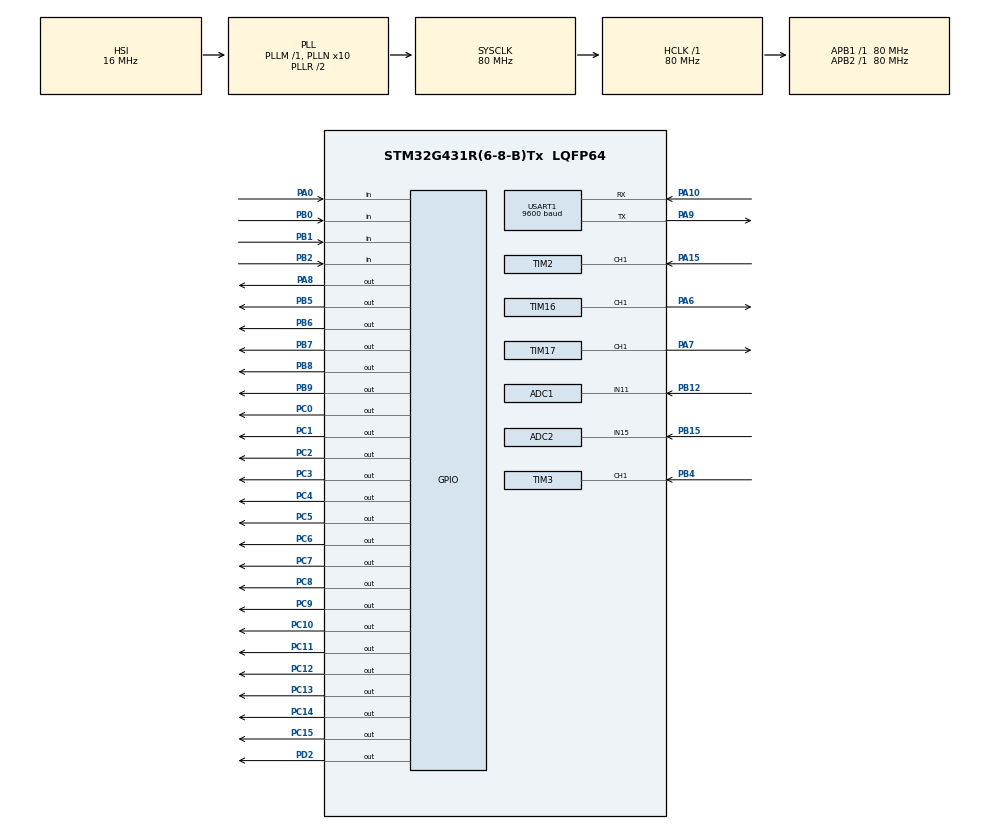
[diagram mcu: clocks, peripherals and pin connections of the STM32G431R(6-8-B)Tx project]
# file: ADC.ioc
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ADC1.Channel-0\#ChannelRegularConversion=ADC_CHANNEL_11
ADC1.NbrOfConversionFlag=1
ADC1.OffsetNumber-0\#ChannelRegularConversion=ADC_OFFSET_NONE
ADC1.Rank-0\#ChannelRegularConversion=1
ADC1.SamplingTime-0\#ChannelRegularConversion=ADC_SAMPLETIME_2CYCLES_5
ADC1.master=1
ADC2.Channel-0\#ChannelRegularConversion=ADC_CHANNEL_15
ADC2.NbrOfConversionFlag=1
ADC2.OffsetNumber-0\#ChannelRegularConversion=ADC_OFFSET_NONE
ADC2.Rank-0\#ChannelRegularConversion=1
ADC2.SamplingTime-0\#ChannelRegularConversion=ADC_SAMPLETIME_2CYCLES_5
Mcu.Family=STM32G4
Mcu.Name=STM32G431R(6-8-B)Tx
Mcu.Package=LQFP64
NVIC.PriorityGroup=NVIC_PRIORITYGROUP_4
NVIC.TIM2_IRQn=true\:0\:0\:false\:false\:true\:true\:true\:true
NVIC.TIM3_IRQn=true\:0\:0\:false\:false\:true\:true\:true\:true
NVIC.TIM4_IRQn=true\:0\:0\:false\:false\:true\:true\:true\:true
NVIC.USART1_IRQn=true\:0\:0\:false\:false\:true\:true\:true\:true
PA0.GPIO_PuPd=GPIO_PULLDOWN
PA0.Signal=GPIO_Input
PA10.Mode=Asynchronous
PA10.Signal=USART1_RX
PA13.Mode=Serial_Wire
PA13.Signal=SYS_JTMS-SWDIO
PA14.Mode=Serial_Wire
PA14.Signal=SYS_JTCK-SWCLK
PA15.Signal=S_TIM2_CH1
PA6.Signal=S_TIM16_CH1
PA7.Signal=S_TIM17_CH1
PA8.Signal=GPIO_Output
PA9.Mode=Asynchronous
PA9.Signal=USART1_TX
PB0.GPIO_PuPd=GPIO_PULLDOWN
PB0.Signal=GPIO_Input
PB1.GPIO_PuPd=GPIO_PULLDOWN
PB1.Signal=GPIO_Input
PB12.Mode=IN11-Single-Ended
PB12.Signal=ADC1_IN11
PB15.Mode=IN15-Single-Ended
PB15.Signal=ADC2_IN15
PB2.GPIO_PuPd=GPIO_PULLDOWN
PB2.Signal=GPIO_Input
PB4.Signal=S_TIM3_CH1
PB5.Signal=GPIO_Output
PB6.Signal=GPIO_Output
PB7.Signal=GPIO_Output
PB8-BOOT0.Signal=GPIO_Output
PB9.Signal=GPIO_Output
PC0.Signal=GPIO_Output
PC1.Signal=GPIO_Output
PC10.PinState=GPIO_PIN_SET
PC10.Signal=GPIO_Output
PC11.PinState=GPIO_PIN_SET
PC11.Signal=GPIO_Output
PC12.PinState=GPIO_PIN_SET
PC12.Signal=GPIO_Output
PC13.PinState=GPIO_PIN_SET
PC13.Signal=GPIO_Output
PC14-OSC32_IN.PinState=GPIO_PIN_SET
PC14-OSC32_IN.Signal=GPIO_Output
PC15-OSC32_OUT.PinState=GPIO_PIN_SET
PC15-OSC32_OUT.Signal=GPIO_Output
PC2.Signal=GPIO_Output
PC3.Signal=GPIO_Output
PC4.Signal=GPIO_Output
PC5.Signal=GPIO_Output
PC6.Signal=GPIO_Output
PC7.Signal=GPIO_Output
PC8.PinState=GPIO_PIN_SET
PC8.Signal=GPIO_Output
PC9.PinState=GPIO_PIN_SET
PC9.Signal=GPIO_Output
PD2.Signal=GPIO_Output
PF0-OSC_IN.Mode=HSE-External-Oscillator
PF0-OSC_IN.Signal=RCC_OSC_IN
PF1-OSC_OUT.Mode=HSE-External-Oscillator
PF1-OSC_OUT.Signal=RCC_OSC_OUT
ProjectManager.HeapSize=0x200
ProjectManager.StackSize=0x400
ProjectManager.TargetToolchain=MDK-ARM V5.32
RCC.ADC12Freq_Value=80000000
RCC.AHBFreq_Value=80000000
RCC.APB1Freq_Value=80000000
RCC.APB1TimFreq_Value=80000000
RCC.APB2Freq_Value=80000000
RCC.APB2TimFreq_Value=80000000
RCC.CortexFreq_Value=80000000
RCC.EXTERNAL_CLOCK_VALUE=12288000
RCC.HCLKFreq_Value=80000000
RCC.HSE_VALUE=24000000
RCC.HSI48_VALUE=48000000
RCC.HSI_VALUE=16000000
RCC.LSE_VALUE=32768
RCC.PLLN=10
RCC.SYSCLKFreq_VALUE=80000000
RCC.SYSCLKSource=RCC_SYSCLKSOURCE_PLLCLK
RCC.USBFreq_Value=80000000
RCC.VCOOutputFreq_Value=160000000
SH.S_TIM16_CH1.0=TIM16_CH1,PWM Generation1 CH1
SH.S_TIM17_CH1.0=TIM17_CH1,PWM Generation1 CH1
SH.S_TIM2_CH1.0=TIM2_CH1,Input_Capture1_from_TI1
SH.S_TIM3_CH1.0=TIM3_CH1,Input_Capture1_from_TI1
TIM16.Channel=TIM_CHANNEL_1
TIM16.PeriodNoDither=100-1
TIM16.Prescaler=8000-1
TIM16.PulseNoDither_1=20
TIM17.Channel=TIM_CHANNEL_1
TIM17.PeriodNoDither=100-1
TIM17.Prescaler=4000-1
TIM17.PulseNoDither_1=20
TIM2.Channel-Input_Capture1_from_TI1=TIM_CHANNEL_1
TIM2.Channel-Input_Capture2_from_TI1_63=TIM_CHANNEL_2
TIM2.ICPolarity_CH2=TIM_INPUTCHANNELPOLARITY_FALLING
TIM2.Prescaler=80-1
TIM3.Channel-Input_Capture1_from_TI1=TIM_CHANNEL_1
TIM3.Channel-Input_Capture2_from_TI1_63=TIM_CHANNEL_2
TIM3.ICPolarity_CH1=TIM_INPUTCHANNELPOLARITY_RISING
TIM3.ICPolarity_CH2=TIM_INPUTCHANNELPOLARITY_FALLING
TIM3.Prescaler=80-1
TIM4.PeriodNoDither=10000-1
TIM4.Prescaler=80-1
USART1.BaudRate=9600
USART1.VirtualMode-Asynchronous=VM_ASYNC
VP_SYS_VS_DBSignals.Mode=DisableDeadBatterySignals
VP_TIM16_VS_ClockSourceINT.Mode=Enable_Timer
VP_TIM17_VS_ClockSourceINT.Mode=Enable_Timer
VP_TIM2_VS_indirect_ch1.Mode=Input_Capture2_from_TI1_63
VP_TIM3_VS_indirect_ch1.Mode=Input_Capture2_from_TI1_63
VP_TIM4_VS_ClockSourceINT.Mode=Internal
board=custom

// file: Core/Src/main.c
/* USER CODE BEGIN Header */
/**
  ******************************************************************************
  * @file           : main.c
  * @brief          : Main program body
  ******************************************************************************
  * @attention
  *
  * Copyright (c) 2023 STMicroelectronics.
  * All rights reserved.
  *
  * This software is licensed under terms that can be found in the LICENSE file
  * in the root directory of this software component.
  * If no LICENSE file comes with this software, it is provided AS-IS.
  *
  ******************************************************************************
  */
/* USER CODE END Header */
#include "main.h"
#include "adc.h"
#include "tim.h"
#include "usart.h"
#include "gpio.h"

/* USER CODE BEGIN Includes */
#include "led.h"
#include "lcd.h"
#include "stdio.h"
#include "interrupt.h"
#include "badc.h"
#include "i2c_hal.h"
#include "string.h"
/* USER CODE END Includes */

/* USER CODE BEGIN PTD */
extern struct keys key[];//在main函数引用interrupt.c文件里的struct keys key变量
extern uint frq1,frq2;
extern float duty1,duty2;

uchar view=0;//默认在第一个界面

uchar pa6_duty=10;//PA6的占空比
uchar pa7_duty=10;

extern char rxdata[30];//最终处理好的数据
extern uint8_t rxdat;//每次接收的数据
extern uchar rx_pointer;//确定一下写到哪个位置了
char car_type[5];
char car_data[5];
char car_time[13];

void key_proc(void);
void disp_proc(void);
void uart_rx_porc();

/* USER CODE END PTD */

void SystemClock_Config(void);

int main(void)
{

  /* MCU Configuration--------------------------------------------------------*/

  /* Reset of all peripherals, Initializes the Flash interface and the Systick. */
  HAL_Init();

  /* Configure the system clock */
  SystemClock_Config();

  /* Initialize all configured peripherals */
  MX_GPIO_Init();
  MX_TIM2_Init();
  MX_TIM3_Init();
  MX_TIM4_Init();
  MX_TIM16_Init();
  MX_TIM17_Init();
  MX_ADC1_Init();
  MX_ADC2_Init();
  MX_USART1_UART_Init();
  /* USER CODE BEGIN 2 */
    LED_Disp(0x00);//LED的初始化，即让所有led灭
    LCD_Init();//LCD屏的初始化

    //初始化串口
    HAL_UART_Receive_IT(&huart1,&rxdat,1);//每次中断只能接收一个字符

	LCD_Clear(Black);//把屏幕清空，清成黑色
	LCD_SetBackColor(Black);//设置背景色
	LCD_SetTextColor(White);//设置文本颜色(前景色)

	HAL_TIM_Base_Start_IT(&htim4);//开启定时器3的中断

    //PA6输出频率固定为100HZ，占空比可调节的脉冲信号
    //PA7输出频率固定为200HZ，占空比可调节的脉冲信号
    //打开PWM输出
    HAL_TIM_PWM_Start(&htim16,TIM_CHANNEL_1);//第一个参数为哪个定时器，第二个参数为通道几
    HAL_TIM_PWM_Start(&htim17,TIM_CHANNEL_1);//第一个参数为哪个定时器，第二个参数为通道几
    HAL_TIM_IC_Start_IT(&htim2,TIM_CHANNEL_1);//打开定时器2通道1
    HAL_TIM_IC_Start_IT(&htim3,TIM_CHANNEL_1);//打开定时器3通道1
  /* USER CODE END 2 */

  /* Infinite loop */
  while (1)
  {

    /* USER CODE BEGIN 3 */
//      LED_Disp(0x01);
//      HAL_Delay(500);//延时500ms
//      LED_Disp(0x00);
//      HAL_Delay(500);//延时500ms

      key_proc();
      disp_proc();
      //防止接收不完整
      if(rx_pointer!=0){
      int temp=rx_pointer;
          HAL_Delay(1);
          if(temp==rx_pointer)uart_rx_porc();
      }

//      char temp[20];
//      //将频率发送出去,发送到串口助手上
//      sprintf(temp,"frq=%d\n",frq1);
//      //第一个参数是哪一个串口，第二个参数是发送的数据
//      //第三个参数是要发送的长度
//      //第四个参数是超时时间
//      HAL_UART_Transmit(&huart1,(uint8_t *)temp,strlen(temp),50);
  }
  /* USER CODE END 3 */
}

void SystemClock_Config(void)
{
  RCC_OscInitTypeDef RCC_OscInitStruct = {0};
  RCC_ClkInitTypeDef RCC_ClkInitStruct = {0};

  /** Configure the main internal regulator output voltage
  */
  HAL_PWREx_ControlVoltageScaling(PWR_REGULATOR_VOLTAGE_SCALE1);

  /** Initializes the RCC Oscillators according to the specified parameters
  * in the RCC_OscInitTypeDef structure.
  */
  RCC_OscInitStruct.OscillatorType = RCC_OSCILLATORTYPE_HSI;
  RCC_OscInitStruct.HSIState = RCC_HSI_ON;
  RCC_OscInitStruct.HSICalibrationValue = RCC_HSICALIBRATION_DEFAULT;
  RCC_OscInitStruct.PLL.PLLState = RCC_PLL_ON;
  RCC_OscInitStruct.PLL.PLLSource = RCC_PLLSOURCE_HSI;
  RCC_OscInitStruct.PLL.PLLM = RCC_PLLM_DIV1;
  RCC_OscInitStruct.PLL.PLLN = 10;
  RCC_OscInitStruct.PLL.PLLP = RCC_PLLP_DIV2;
  RCC_OscInitStruct.PLL.PLLQ = RCC_PLLQ_DIV2;
  RCC_OscInitStruct.PLL.PLLR = RCC_PLLR_DIV2;
  if (HAL_RCC_OscConfig(&RCC_OscInitStruct) != HAL_OK)
  {
    Error_Handler();
  }

  /** Initializes the CPU, AHB and APB buses clocks
  */
  RCC_ClkInitStruct.ClockType = RCC_CLOCKTYPE_HCLK|RCC_CLOCKTYPE_SYSCLK
                              |RCC_CLOCKTYPE_PCLK1|RCC_CLOCKTYPE_PCLK2;
  RCC_ClkInitStruct.SYSCLKSource = RCC_SYSCLKSOURCE_PLLCLK;
  RCC_ClkInitStruct.AHBCLKDivider = RCC_SYSCLK_DIV1;
  RCC_ClkInitStruct.APB1CLKDivider = RCC_HCLK_DIV1;
  RCC_ClkInitStruct.APB2CLKDivider = RCC_HCLK_DIV1;

  if (HAL_RCC_ClockConfig(&RCC_ClkInitStruct, FLASH_LATENCY_2) != HAL_OK)
  {
    Error_Handler();
  }
}

/* USER CODE BEGIN 4 */
void key_proc(void){
      if(key[0].single_flag==1){//第一个按键被按下
      view++;
       if(view==3)view=0;
      LCD_Clear(Black);//切换界面时要进行清屏操作，避免上一界面残留
      key[0].single_flag=0;//将按下标志位清0，避免被重复执行
      }
      if(key[1].single_flag==1){//第二个按键被按下
      pa6_duty+=10;
      if(pa6_duty>=100)
          pa6_duty=10;
       //将设置的占空比应用到输出当中
      __HAL_TIM_SetCompare(&htim16,TIM_CHANNEL_1,pa6_duty);//第一个参数是哪个定时器，第二个参数是哪个通道，第三个参数是值
      LCD_Clear(Black);//切换界面时要进行清屏操作，避免上一界面残留
      key[1].single_flag=0;//将按下标志位清0，避免被重复执行

      }
      if(key[2].single_flag==1){//第三个按键被按下
      pa7_duty+=10;
      if(pa7_duty>=100)
          pa7_duty=10;
      __HAL_TIM_SetCompare(&htim17,TIM_CHANNEL_1,pa7_duty);//第一个参数是哪个定时器，第二个参数是哪个通道，第三个参数是值
      LCD_Clear(Black);//切换界面时要进行清屏操作，避免上一界面残留
      key[2].single_flag=0;//将按下标志位清0，避免被重复执行

      }
      if(key[3].single_flag==1){//第四个按键被按下
            //将频率存储到EEPROM
          //EEPROM是8位，频率是16位，所以需要把频率分为高八位和低八位
         uchar frq_h=frq1>>8;
          uchar frq_l=frq1&0xff;
          eeprom_write(1,frq_h);
          HAL_Delay(10);//延时10毫秒
          eeprom_write(2,frq_l);
          key[3].single_flag=0;//将按下标志位清0，避免被重复执行

      }
}

//LCD屏显示
void disp_proc(void){
    if(view==0){
      char text[30];//字符数组
      sprintf(text,"      Data       ");
      LCD_DisplayStringLine(Line1, (uint8_t *)text);//将text里面的数据打印到第1行

      sprintf(text,"      FRQ1=%d       ",frq1);
      LCD_DisplayStringLine(Line2, (uint8_t *)text);//将text里面的数据打印到第2行
      sprintf(text,"      duty1=%.3f       ",duty1);
      LCD_DisplayStringLine(Line3, (uint8_t *)text);//将text里面的数据打印到第3行

     sprintf(text,"      FRQ2=%d       ",frq2);
     LCD_DisplayStringLine(Line4, (uint8_t *)text);//将text里面的数据打印到第4行
     sprintf(text,"      duty2=%.3f       ",duty2);
     LCD_DisplayStringLine(Line5, (uint8_t *)text);//将text里面的数据打印到第5行

        sprintf(text,"      V:%.2f v      ",getADC(&hadc1));
     LCD_DisplayStringLine(Line6, (uint8_t *)text);//将text里面的数据打印到第6行

        sprintf(text,"      V:%.2f v     ",getADC(&hadc2));
     LCD_DisplayStringLine(Line7, (uint8_t *)text);//将text里面的数据打印到第7行

     uint eep_temp=(eeprom_read(1)<<8)+(eeprom_read(2));//对读出来的数据进行处理

     sprintf(text,"      FRQ_eep=%d     ",eep_temp);
     LCD_DisplayStringLine(Line8, (uint8_t *)text);//将text里面的数据打印到第7行

    }
    if(view==1){
      char text[30];//字符数组
      sprintf(text,"      Para       ");
      LCD_DisplayStringLine(Line1, (uint8_t *)text);//将text里面的数据打印到第九行
        sprintf(text,"    PA6:%d       ",pa6_duty);
        LCD_DisplayStringLine(Line2, (uint8_t *)text);//将text里面的数据打印到第九行
        sprintf(text,"    PA7:%d       ",pa7_duty);
        LCD_DisplayStringLine(Line4, (uint8_t *)text);//将text里面的数据打印到第九行

    }
    if(view==2){
      char text[30];//字符数组
      sprintf(text,"      Car_msg       ");

      LCD_DisplayStringLine(Line1, (uint8_t *)text);//将text里面的数据打印到第九行
        sprintf(text,"car_type=%s",car_type);
      LCD_DisplayStringLine(Line2, (uint8_t *)text);//将text里面的数据打印到第九行
        sprintf(text,"car_data=%s",car_data);
      LCD_DisplayStringLine(Line3, (uint8_t *)text);//将text里面的数据打印到第九行
        sprintf(text,"car_tim=%s",car_time);
      LCD_DisplayStringLine(Line4, (uint8_t *)text);//将text里面的数据打印到第九行

    }
}

//接收函数：上位机发送
//接收：从电脑上的串口助手输入要发送的字符，单片机通过串口接收到
//发送：单片机通过串口发送数据到电脑上，并在串口助手上可以看到发送的数据信息
void uart_rx_porc()
{
    //判断是否有接收到东西
    if(rx_pointer>0)//接收到了
    {
        if(rx_pointer==22)//是否接收到了22个字符
        {
            //将rxdata拆分
            sscanf(rxdata,"%4s:%4s:%12s",car_type,car_data,car_time);

        }
        else//没有接收到22个字符，则发送Error
        {
      char temp[20];
      //将频率发送出去,发送到串口助手上
      sprintf(temp,"Error");
      //第一个参数是哪一个串口，第二个参数是发送的数据
      //第三个参数是要发送的长度
      //第四个参数是超时时间
      HAL_UART_Transmit(&huart1,(uint8_t *)temp,strlen(temp),50);
        }
       rx_pointer=0;
       memset(rxdata,0,30);//将rxdata清空
    }

}
/* USER CODE END 4 */

void Error_Handler(void)
{
  __disable_irq();
  while (1)
  {
  }
}
